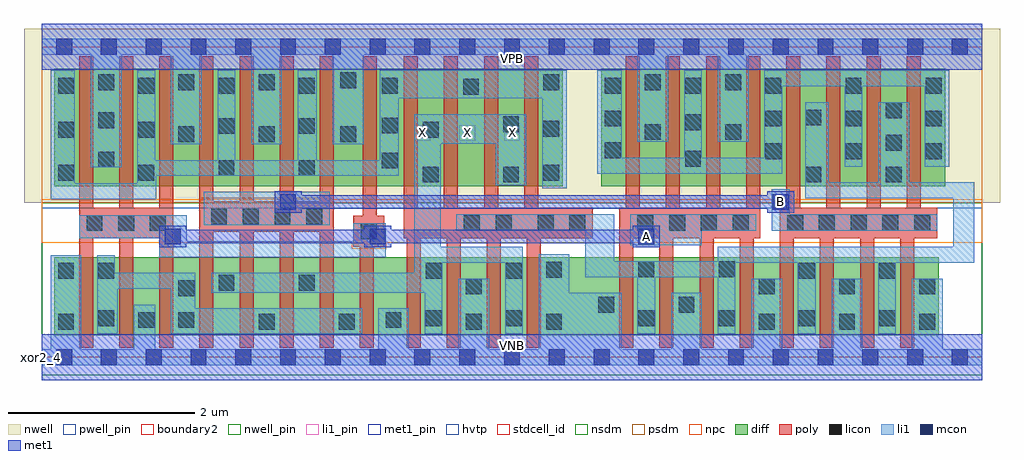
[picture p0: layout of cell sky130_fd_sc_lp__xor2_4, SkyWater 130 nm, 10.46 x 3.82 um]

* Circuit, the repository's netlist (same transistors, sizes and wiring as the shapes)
* Copyright 2020 The SkyWater PDK Authors
*
* Licensed under the Apache License, Version 2.0 (the "License");
* you may not use this file except in compliance with the License.
* You may obtain a copy of the License at
*
*     https://www.apache.org/licenses/LICENSE-2.0
*
* Unless required by applicable law or agreed to in writing, software
* distributed under the License is distributed on an "AS IS" BASIS,
* WITHOUT WARRANTIES OR CONDITIONS OF ANY KIND, either express or implied.
* See the License for the specific language governing permissions and
* limitations under the License.
*
* SPDX-License-Identifier: Apache-2.0

.SUBCKT sky130_fd_sc_lp__xor2_4 A B VGND VNB VPB VPWR X
*.PININFO A:I B:I VGND:I VNB:I VPB:I VPWR:I X:O
MMNnor0 inor A VGND VNB sky130_fd_pr__nfet_01v8 m=4 w=0.84U l=0.15U mult=1 sa=0.265
+ sb=0.265 sd=0.28 area=0.063 perim=1.14
MMNnor1 inor B VGND VNB sky130_fd_pr__nfet_01v8 m=4 w=0.84U l=0.15U mult=1 sa=0.265
+ sb=0.265 sd=0.28 area=0.063 perim=1.14
MMNaoi10 VGND A sndNA VNB sky130_fd_pr__nfet_01v8 m=4 w=0.84U l=0.15U mult=1 sa=0.265
+ sb=0.265 sd=0.28 area=0.063 perim=1.14
MMNaoi11 sndNA B X VNB sky130_fd_pr__nfet_01v8 m=4 w=0.84U l=0.15U mult=1 sa=0.265
+ sb=0.265 sd=0.28 area=0.063 perim=1.14
MMNaoi20 X inor VGND VNB sky130_fd_pr__nfet_01v8 m=4 w=0.84U l=0.15U mult=1 sa=0.265
+ sb=0.265 sd=0.28 area=0.063 perim=1.14
MMPnor0 VPWR A sndPA VPB sky130_fd_pr__pfet_01v8_hvt m=4 w=1.26U l=0.15U mult=1
+ sa=0.265 sb=0.265 sd=0.28 area=0.063 perim=1.14
MMPnor1 sndPA B inor VPB sky130_fd_pr__pfet_01v8_hvt m=4 w=1.26U l=0.15U mult=1
+ sa=0.265 sb=0.265 sd=0.28 area=0.063 perim=1.14
MMPaoi10 pmid A VPWR VPB sky130_fd_pr__pfet_01v8_hvt m=4 w=1.26U l=0.15U mult=1
+ sa=0.265 sb=0.265 sd=0.28 area=0.063 perim=1.14
MMPaoi11 pmid B VPWR VPB sky130_fd_pr__pfet_01v8_hvt m=4 w=1.26U l=0.15U mult=1
+ sa=0.265 sb=0.265 sd=0.28 area=0.063 perim=1.14
MMPaoi20 X inor pmid VPB sky130_fd_pr__pfet_01v8_hvt m=4 w=1.26U l=0.15U mult=1
+ sa=0.265 sb=0.265 sd=0.28 area=0.063 perim=1.14
.ENDS sky130_fd_sc_lp__xor2_4

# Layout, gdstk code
import gdstk
lib = gdstk.Library(unit=1e-6, precision=1e-09)
def R(c, l, rs):  # rectangles x0, y0, x1, y1
    for r in rs: c.add(gdstk.rectangle(r[:2], r[2:], *l))
def A(c, l, x, y, w, h, nx, ny, dx, dy):  # array of equal rectangles
    R(c, l, [(x+i*dx, y+j*dy, x+i*dx+w, y+j*dy+h) for i in range(nx) for j in range(ny)])
def P(c, l, *ps):  # polygons
    for p in ps: c.add(gdstk.Polygon(p, *l))
nwell_pin = (64, 16)
nwell = (64, 20)
diff = (65, 20)
poly = (66, 20)
licon = (66, 44)
li1_pin = (67, 16)
li1 = (67, 20)
mcon = (67, 44)
met1_pin = (68, 16)
met1 = (68, 20)
hvtp = (78, 44)
stdcell_id = (81, 4)
nsdm = (93, 44)
psdm = (94, 20)
npc = (95, 20)
pwell_pin = (122, 16)
boundary2 = (236, 0)

sky130_fd_sc_lp__xor2_4 = lib.new_cell('sky130_fd_sc_lp__xor2_4')
R(sky130_fd_sc_lp__xor2_4, nwell_pin, [(0,3.085,10.08,3.33)])
R(sky130_fd_sc_lp__xor2_4, nwell, [(-0.19,1.655,10.27,3.52)])
R(sky130_fd_sc_lp__xor2_4, diff, [(0.135,0.235,9.615,1.075), (0.135,1.835,5.585,3.095), (5.995,1.835,9.685,3.095)])
P(sky130_fd_sc_lp__xor2_4, poly, [(1.41,3.225),(1.26,3.225),(1.26,1.605),(0.98,1.605),(0.98,3.225),(0.83,3.225),(0.83,1.605),(0.55,1.605),(0.55,3.225),(0.4,3.225),(0.4,0.105),(0.55,0.105),(0.55,1.275),(0.83,1.275),(0.83,0.105),(0.98,0.105),(0.98,1.275),(1.26,1.275),(1.26,0.105),(1.41,0.105)],
  [(3.13,3.225),(2.98,3.225),(2.98,1.675),(2.7,1.675),(2.7,3.225),(2.55,3.225),(2.55,1.675),(2.27,1.675),(2.27,3.225),(2.12,3.225),(2.12,1.675),(1.84,1.675),(1.84,3.225),(1.69,3.225),(1.69,0.105),(1.84,0.105),(1.84,1.345),(2.12,1.345),(2.12,0.105),(2.27,0.105),(2.27,1.345),(2.55,1.345),(2.55,0.105),(2.7,0.105),(2.7,1.345),(2.98,1.345),(2.98,0.105),(3.13,0.105)],
  [(3.67,1.515),(3.59,1.515),(3.59,3.225),(3.44,3.225),(3.44,1.515),(3.34,1.515),(3.34,1.185),(3.41,1.185),(3.41,0.105),(3.56,0.105),(3.56,1.185),(3.67,1.185)],
  [(5.905,1.605),(5.32,1.605),(5.32,3.225),(5.17,3.225),(5.17,1.605),(4.89,1.605),(4.89,3.225),(4.74,3.225),(4.74,1.605),(4.46,1.605),(4.46,3.225),(4.31,3.225),(4.31,1.605),(4.03,1.605),(4.03,3.225),(3.88,3.225),(3.88,1.275),(3.91,1.275),(3.91,0.105),(4.06,0.105),(4.06,1.275),(4.34,1.275),(4.34,0.105),(4.49,0.105),(4.49,1.275),(4.77,1.275),(4.77,0.105),(4.92,0.105),(4.92,1.275),(5.2,1.275),(5.2,0.105),(5.35,0.105),(5.35,1.275),(5.905,1.275)],
  [(7.7,3.225),(7.55,3.225),(7.55,1.605),(7.27,1.605),(7.27,3.225),(7.12,3.225),(7.12,1.605),(6.84,1.605),(6.84,3.225),(6.69,3.225),(6.69,1.605),(6.41,1.605),(6.41,3.225),(6.26,3.225),(6.26,1.605),(6.19,1.605),(6.19,0.105),(6.34,0.105),(6.34,1.275),(6.62,1.275),(6.62,0.105),(6.77,0.105),(6.77,1.275),(7.05,1.275),(7.05,0.105),(7.2,0.105),(7.2,1.275),(7.48,1.275),(7.48,0.105),(7.63,0.105),(7.63,1.275),(7.7,1.275)],
  [(9.6,1.605),(9.42,1.605),(9.42,3.225),(9.27,3.225),(9.27,1.605),(8.99,1.605),(8.99,3.225),(8.84,3.225),(8.84,1.605),(8.56,1.605),(8.56,3.225),(8.41,3.225),(8.41,1.605),(8.13,1.605),(8.13,3.225),(7.98,3.225),(7.98,1.605),(7.91,1.605),(7.91,0.105),(8.06,0.105),(8.06,1.275),(8.34,1.275),(8.34,0.105),(8.49,0.105),(8.49,1.275),(8.77,1.275),(8.77,0.105),(8.92,0.105),(8.92,1.275),(9.2,1.275),(9.2,0.105),(9.35,0.105),(9.35,1.275),(9.6,1.275)])
A(sky130_fd_sc_lp__xor2_4, licon, 7.685, 0.295, 0.17, 0.17, 3, 2, 0.86, 0.38)
A(sky130_fd_sc_lp__xor2_4, licon, 6.395, 0.335, 0.17, 0.17, 4, 1, 0.86, 0)
A(sky130_fd_sc_lp__xor2_4, licon, 0.48, 1.355, 0.17, 0.17, 3, 1, 0.34, 0)
A(sky130_fd_sc_lp__xor2_4, licon, 6.385, 1.355, 0.17, 0.17, 4, 1, 0.34, 0)
A(sky130_fd_sc_lp__xor2_4, licon, 7.99, 1.355, 0.17, 0.17, 5, 1, 0.34, 0)
A(sky130_fd_sc_lp__xor2_4, licon, 1.815, 1.425, 0.17, 0.17, 4, 1, 0.34, 0)
A(sky130_fd_sc_lp__xor2_4, licon, 7.755, 2.125, 0.17, 0.17, 3, 2, 0.86, 0.35)
A(sky130_fd_sc_lp__xor2_4, licon, 0.175, 2.825, 0.17, 0.17, 4, 1, 0.86, 0)
A(sky130_fd_sc_lp__xor2_4, licon, 6.035, 2.825, 0.17, 0.17, 5, 1, 0.86, 0)
A(sky130_fd_sc_lp__xor2_4, licon, 0.605, 2.865, 0.17, 0.17, 3, 1, 0.86, 0)
R(sky130_fd_sc_lp__xor2_4, licon, [(0.175,0.295,0.345,0.465), (2.325,0.295,2.495,0.465), (3.185,0.295,3.355,0.465), (4.545,0.295,4.715,0.465), (5.405,0.295,5.575,0.465), (1.035,0.315,1.205,0.485), (1.465,0.315,1.635,0.485), (3.685,0.315,3.855,0.485), (0.605,0.335,0.775,0.505), (4.115,0.335,4.285,0.505), (4.975,0.335,5.145,0.505), (5.965,0.48,6.135,0.65), (6.825,0.48,6.995,0.65), (1.465,0.655,1.635,0.825), (4.545,0.675,4.715,0.845), (1.895,0.715,2.065,0.885), (2.755,0.715,2.925,0.885), (0.175,0.845,0.345,1.015), (0.605,0.845,0.775,1.015), (4.115,0.845,4.285,1.015), (4.975,0.845,5.145,1.015), (8.115,0.845,8.285,1.015), (8.975,0.845,9.145,1.015), (5.405,0.855,5.575,1.025), (6.395,0.86,6.565,1.03), (7.255,0.86,7.425,1.03), (3.42,1.265,3.59,1.435), (4.525,1.355,4.695,1.525), (4.865,1.355,5.035,1.525), (5.315,1.355,5.485,1.525), (5.655,1.355,5.825,1.525), (4.085,1.875,4.255,2.045), (4.945,1.875,5.115,2.045), (8.185,1.875,8.355,2.045), (9.045,1.875,9.215,2.045), (0.175,1.895,0.345,2.065), (1.035,1.895,1.205,2.065), (5.375,1.895,5.545,2.065), (1.895,1.945,2.065,2.115), (2.755,1.945,2.925,2.115), (3.645,2.025,3.815,2.195), (0.605,2.035,0.775,2.205), (6.895,2.045,7.065,2.215), (6.035,2.135,6.205,2.305), (9.045,2.215,9.215,2.385), (1.465,2.305,1.635,2.475), (2.325,2.305,2.495,2.475), (3.2,2.305,3.37,2.475), (6.465,2.33,6.635,2.5), (7.325,2.33,7.495,2.5), (0.175,2.355,0.345,2.525), (1.035,2.355,1.205,2.525), (4.085,2.355,4.255,2.525), (5.375,2.365,5.545,2.535), (1.895,2.395,2.065,2.565), (2.755,2.395,2.925,2.565), (3.645,2.4,3.815,2.57), (4.945,2.415,5.115,2.585), (6.895,2.435,7.065,2.605), (0.605,2.455,0.775,2.625), (6.035,2.475,6.205,2.645), (8.185,2.485,8.355,2.655), (9.045,2.565,9.215,2.735), (4.515,2.815,4.685,2.985), (3.645,2.825,3.815,2.995), (5.375,2.865,5.545,3.035), (6.465,2.865,6.635,3.035), (7.325,2.865,7.495,3.035), (3.2,2.885,3.37,3.055)])
A(sky130_fd_sc_lp__xor2_4, li1_pin, 3.995, 2.32, 0.17, 0.17, 3, 1, 0.48, 0)
R(sky130_fd_sc_lp__xor2_4, li1, [(1.735,1.415,3.085,1.775)])
P(sky130_fd_sc_lp__xor2_4, li1, [(3.435,0.525),(1.645,0.525),(1.645,0.905),(0.785,0.905),(0.785,1.095),(0.595,1.095),(0.595,0.255),(0.815,0.255),(0.815,0.735),(1.385,0.735),(1.385,0.255),(3.435,0.255)],
  [(7.655,1.535),(6.305,1.535),(6.305,1.2),(7.075,1.2),(7.075,1.355),(7.655,1.355)],
  [(10.08,3.415),(0,3.415),(0,3.245),(0.525,3.245),(0.525,2.035),(0.855,2.035),(0.855,3.245),(1.385,3.245),(1.385,2.285),(1.715,2.285),(1.715,3.245),(2.245,3.245),(2.245,2.285),(2.575,2.285),(2.575,3.245),(3.12,3.245),(3.12,2.285),(3.45,2.285),(3.45,3.245),(6.385,3.245),(6.385,2.31),(6.715,2.31),(6.715,3.245),(7.245,3.245),(7.245,2.31),(7.575,2.31),(7.575,3.245),(10.08,3.245)],
  [(9.995,1.875),(9.295,1.875),(9.295,2.735),(8.965,2.735),(8.965,1.875),(8.435,1.875),(8.435,2.735),(8.185,2.735),(8.185,1.705),(9.77,1.705),(9.77,1.185),(7.245,1.185),(7.245,1.03),(6.135,1.03),(6.135,1.535),(4.445,1.535),(4.445,1.355),(5.825,1.355),(5.825,0.86),(6.385,0.86),(6.385,0.255),(6.575,0.255),(6.575,0.86),(7.245,0.86),(7.245,0.255),(7.435,0.255),(7.435,1.015),(8.105,1.015),(8.105,0.255),(8.295,0.255),(8.295,1.015),(8.965,1.015),(8.965,0.255),(9.155,0.255),(9.155,1.015),(9.995,1.015)],
  [(10.08,0.085),(9.655,0.085),(9.655,0.845),(9.325,0.845),(9.325,0.085),(8.795,0.085),(8.795,0.845),(8.465,0.845),(8.465,0.085),(7.935,0.085),(7.935,0.845),(7.605,0.845),(7.605,0.085),(7.075,0.085),(7.075,0.69),(6.745,0.69),(6.745,0.085),(6.215,0.085),(6.215,0.69),(5.655,0.69),(5.655,1.105),(5.325,1.105),(5.325,0.085),(4.795,0.085),(4.795,0.845),(4.465,0.845),(4.465,0.085),(3.935,0.085),(3.935,0.525),(3.605,0.525),(3.605,0.085),(1.215,0.085),(1.215,0.565),(0.985,0.565),(0.985,0.085),(0.425,0.085),(0.425,1.095),(0.095,1.095),(0.095,0.085),(0,0.085),(0,-0.085),(10.08,-0.085)],
  [(3.685,1.435),(3.34,1.435),(3.34,1.245),(1.555,1.245),(1.555,1.525),(0.4,1.525),(0.4,1.275),(1.26,1.275),(1.26,1.075),(3.685,1.075)],
  [(9.6,1.535),(8.015,1.535),(8.015,1.8),(7.825,1.8),(7.825,1.355),(9.6,1.355)],
  [(9.725,3.075),(7.745,3.075),(7.745,2.14),(7.075,2.14),(7.075,3.075),(6.885,3.075),(6.885,2.14),(6.215,2.14),(6.215,3.075),(5.955,3.075),(5.955,1.97),(7.935,1.97),(7.935,2.905),(8.605,2.905),(8.605,2.045),(8.795,2.045),(8.795,2.905),(9.465,2.905),(9.465,2.045),(9.725,2.045)],
  [(5.195,2.605),(3.995,2.605),(3.995,0.905),(1.815,0.905),(1.815,0.695),(4.105,0.695),(4.105,0.255),(4.295,0.255),(4.295,1.015),(4.965,1.015),(4.965,0.255),(5.155,0.255),(5.155,1.185),(4.275,1.185),(4.275,2.29),(4.865,2.29),(4.865,1.845),(5.195,1.845)],
  [(5.625,3.075),(3.625,3.075),(3.625,2.115),(2.95,2.115),(2.95,3.075),(2.745,3.075),(2.745,2.115),(2.075,2.115),(2.075,3.075),(1.885,3.075),(1.885,2.115),(1.215,2.115),(1.215,3.075),(1.025,3.075),(1.025,1.865),(0.355,1.865),(0.355,3.075),(0.095,3.075),(0.095,1.695),(1.225,1.695),(1.225,1.945),(3.825,1.945),(3.825,2.775),(5.365,2.775),(5.365,1.815),(5.625,1.815)])
A(sky130_fd_sc_lp__xor2_4, mcon, 0.155, -0.085, 0.17, 0.17, 21, 2, 0.48, 3.33)
R(sky130_fd_sc_lp__xor2_4, mcon, [(1.32,1.21,1.49,1.38), (3.515,1.21,3.685,1.38), (6.395,1.21,6.565,1.38), (2.555,1.58,2.725,1.75), (7.835,1.58,8.005,1.75)])
R(sky130_fd_sc_lp__xor2_4, met1_pin, [(0,0,10.08,0.245), (6.395,1.21,6.565,1.38), (7.835,1.58,8.005,1.75), (0,3.085,10.08,3.33)])
R(sky130_fd_sc_lp__xor2_4, met1, [(0,-0.245,10.08,0.245), (0,3.085,10.08,3.575)])
P(sky130_fd_sc_lp__xor2_4, met1, [(8.065,1.78),(7.775,1.78),(7.775,1.735),(2.785,1.735),(2.785,1.78),(2.495,1.78),(2.495,1.55),(2.785,1.55),(2.785,1.595),(7.775,1.595),(7.775,1.55),(8.065,1.55)],
  [(6.625,1.41),(6.335,1.41),(6.335,1.365),(3.745,1.365),(3.745,1.41),(3.455,1.41),(3.455,1.365),(1.55,1.365),(1.55,1.41),(1.26,1.41),(1.26,1.18),(1.55,1.18),(1.55,1.225),(3.455,1.225),(3.455,1.18),(3.745,1.18),(3.745,1.225),(6.335,1.225),(6.335,1.18),(6.625,1.18)])
R(sky130_fd_sc_lp__xor2_4, hvtp, [(0,1.6,10.08,3.33)])
R(sky130_fd_sc_lp__xor2_4, stdcell_id, [(0,0,10.08,3.33)])
R(sky130_fd_sc_lp__xor2_4, nsdm, [(0,-0.19,10.08,1.655)])
P(sky130_fd_sc_lp__xor2_4, psdm, [(10.08,3.52),(0,3.52),(0,1.655),(1.705,1.655),(1.705,1.705),(3.115,1.705),(3.115,1.655),(10.08,1.655)])
P(sky130_fd_sc_lp__xor2_4, npc, [(10.08,1.695),(0,1.695),(0,1.23),(3.32,1.23),(3.32,1.165),(3.69,1.165),(3.69,1.23),(10.08,1.23)])
R(sky130_fd_sc_lp__xor2_4, pwell_pin, [(0,0,10.08,0.245)])
R(sky130_fd_sc_lp__xor2_4, boundary2, [(0,0,10.08,3.33)])
sky130_fd_sc_lp__xor2_4.add(gdstk.Label('VNB', (5.04,0.123), layer=64, texttype=59))
sky130_fd_sc_lp__xor2_4.add(gdstk.Label('VPB', (5.04,3.208), layer=64, texttype=5))
sky130_fd_sc_lp__xor2_4.add(gdstk.Label('xor2_4', (0,0), layer=83, texttype=44))
sky130_fd_sc_lp__xor2_4.add(gdstk.Label('A', (6.48,1.295), layer=68, texttype=5))
sky130_fd_sc_lp__xor2_4.add(gdstk.Label('B', (7.92,1.665), layer=68, texttype=5))
sky130_fd_sc_lp__xor2_4.add(gdstk.Label('VPWR', (5.04,3.208), layer=68, texttype=5))
sky130_fd_sc_lp__xor2_4.add(gdstk.Label('VGND', (5.04,0.123), layer=68, texttype=5))
sky130_fd_sc_lp__xor2_4.add(gdstk.Label('X', (4.08,2.405), layer=67, texttype=5))
sky130_fd_sc_lp__xor2_4.add(gdstk.Label('X', (4.56,2.405), layer=67, texttype=5))
sky130_fd_sc_lp__xor2_4.add(gdstk.Label('X', (5.04,2.405), layer=67, texttype=5))

lib.write_gds('sky130_fd_sc_lp__xor2_4.gds')
